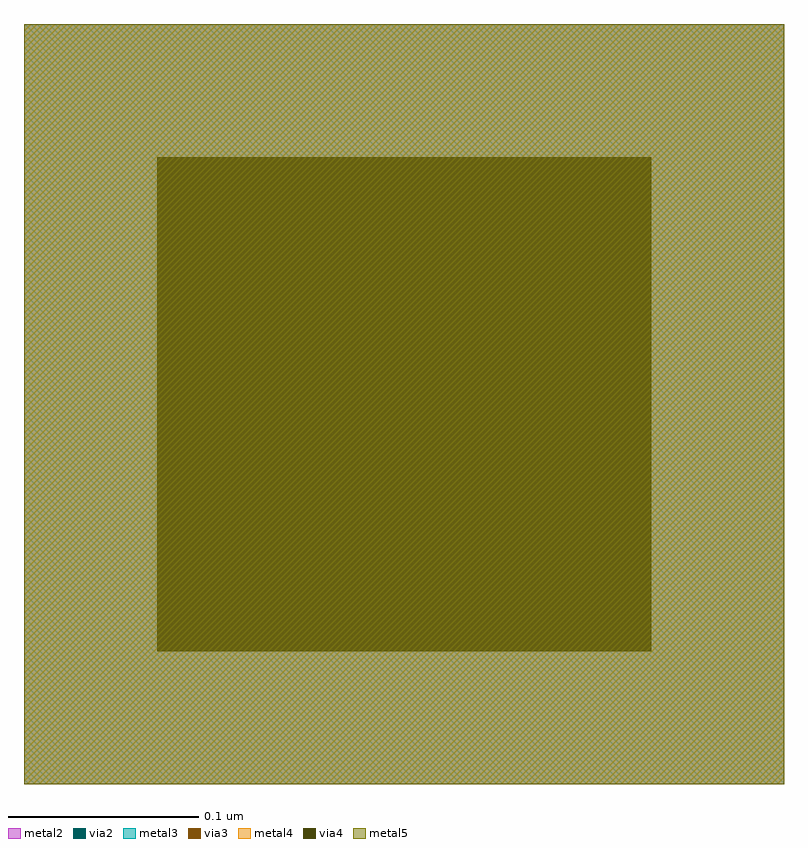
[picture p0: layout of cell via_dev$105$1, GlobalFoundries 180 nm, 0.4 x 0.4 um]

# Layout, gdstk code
import gdstk
lib = gdstk.Library(unit=1e-6, precision=5e-09)
def R(c, l, rs):  # rectangles x0, y0, x1, y1
    for r in rs: c.add(gdstk.rectangle(r[:2], r[2:], *l))
metal2 = (36, 0)
via2 = (38, 0)
via3 = (40, 0)
via4 = (41, 0)
metal3 = (42, 0)
metal4 = (46, 0)
metal5 = (81, 0)

via_dev_105_1 = lib.new_cell('via_dev$105$1')
R(via_dev_105_1, metal2, [(0,0,0.4,0.4)])
R(via_dev_105_1, via2, [(0.07,0.07,0.33,0.33)])
R(via_dev_105_1, via3, [(0.07,0.07,0.33,0.33)])
R(via_dev_105_1, via4, [(0.07,0.07,0.33,0.33)])
R(via_dev_105_1, metal3, [(0,0,0.4,0.4)])
R(via_dev_105_1, metal4, [(0,0,0.4,0.4)])
R(via_dev_105_1, metal5, [(0,0,0.4,0.4)])

lib.write_gds('via_dev_105_1.gds')
